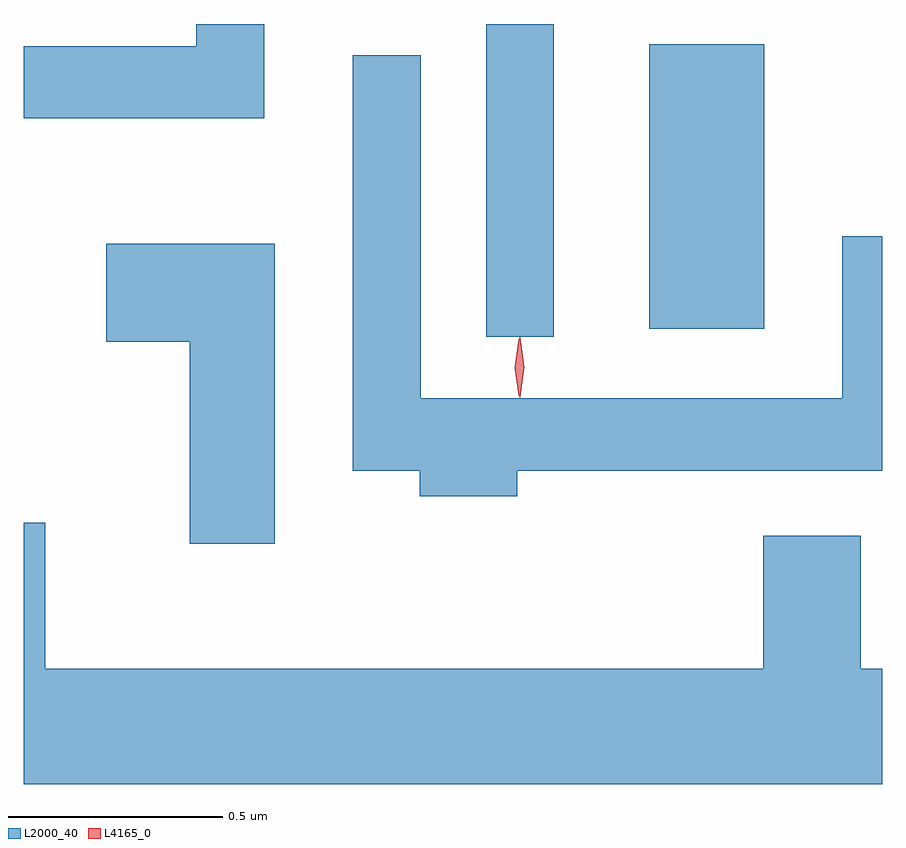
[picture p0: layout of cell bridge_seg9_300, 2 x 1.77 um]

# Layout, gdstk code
import gdstk
lib = gdstk.Library(unit=1e-6, precision=1e-09)
def R(c, l, rs):  # rectangles x0, y0, x1, y1
    for r in rs: c.add(gdstk.rectangle(r[:2], r[2:], *l))
def P(c, l, *ps):  # polygons
    for p in ps: c.add(gdstk.Polygon(p, *l))
L2000_40 = (2000, 40)
L4165_0 = (4165, 0)

bridge_seg9_300 = lib.new_cell('bridge_seg9_300')
R(bridge_seg9_300, L2000_40, [(1027.026,2072.778,1027.184,2073.506), (1027.406,2072.796,1027.674,2073.459)])
P(bridge_seg9_300, L2000_40, [(1026.509,2073.506),(1026.351,2073.506),(1026.351,2073.454),(1025.949,2073.454),(1025.949,2073.286),(1026.509,2073.286)],
  [(1027.099,2072.466),(1027.949,2072.466),(1027.949,2073.012),(1027.856,2073.012),(1027.856,2072.634),(1026.874,2072.634),(1026.874,2073.433),(1026.716,2073.433),(1026.716,2072.466),(1026.871,2072.466),(1026.871,2072.406),(1027.099,2072.406)],
  [(1026.534,2072.994),(1026.141,2072.994),(1026.141,2072.766),(1026.336,2072.766),(1026.336,2072.296),(1026.534,2072.296)],
  [(1027.949,2072.004),(1027.899,2072.004),(1027.899,2072.314),(1027.671,2072.314),(1027.671,2072.004),(1025.999,2072.004),(1025.999,2072.344),(1025.949,2072.344),(1025.949,2071.736),(1027.949,2071.736)])
P(bridge_seg9_300, L4165_0, [(1027.105,2072.637),(1027.105,2072.637),(1027.095,2072.707),(1027.105,2072.776),(1027.105,2072.776),(1027.106,2072.776),(1027.115,2072.707),(1027.106,2072.637)],
  [(1027.102,2072.64),(1027.102,2072.64),(1027.093,2072.706),(1027.102,2072.772),(1027.103,2072.773),(1027.103,2072.772),(1027.112,2072.706),(1027.103,2072.64)])

lib.write_gds('bridge_seg9_300.gds')
